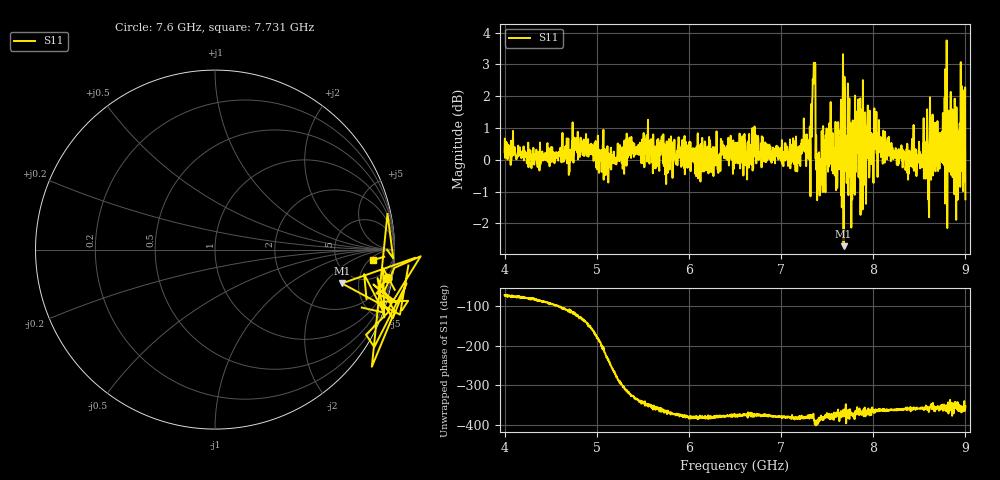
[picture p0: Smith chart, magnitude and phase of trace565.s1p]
! Created with skrf 1.8.0 (http://scikit-rf.org).
# Hz S RI R 50.0
!freq ReS11 ImS11
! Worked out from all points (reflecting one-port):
!   1601 points, 4 GHz to 9 GHz, reference 50 ohm
!   lowest |S11| = -2.7 dB at 7.678 GHz (marker M1), VSWR 6.45, Z = 192 - j155 ohm
!   phase of S11 starts at -71 deg and turns -281 deg over the sweep
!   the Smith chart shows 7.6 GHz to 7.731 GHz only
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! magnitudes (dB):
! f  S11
! 4 GHz  0.2
! 4.625 GHz  0.4
! 5.25 GHz  0.5
! 5.875 GHz  -0.2
! 6.5 GHz  0.4
! 7.125 GHz  0.4
! 7.294 GHz  0.3
! 7.316 GHz  0.4
! 7.347 GHz  2.4
! 7.362 GHz  2.8
! 7.4 GHz  0.0
! 7.409 GHz  -0.5
! 7.519 GHz  0.1
! 7.591 GHz  1.2
! 7.669 GHz  1.8
! 7.678 GHz  -2.7
! 7.75 GHz  -0.5
! 7.775 GHz  1.1
! 7.812 GHz  0.2
! 7.981 GHz  -0.1
! 8.038 GHz  0.2
! 8.375 GHz  0.0
! 8.562 GHz  -0.1
! 8.584 GHz  1.6
! 8.775 GHz  2.0
! 8.9 GHz  -1.9
! 8.972 GHz  0.6
! 9 GHz  -1.2
